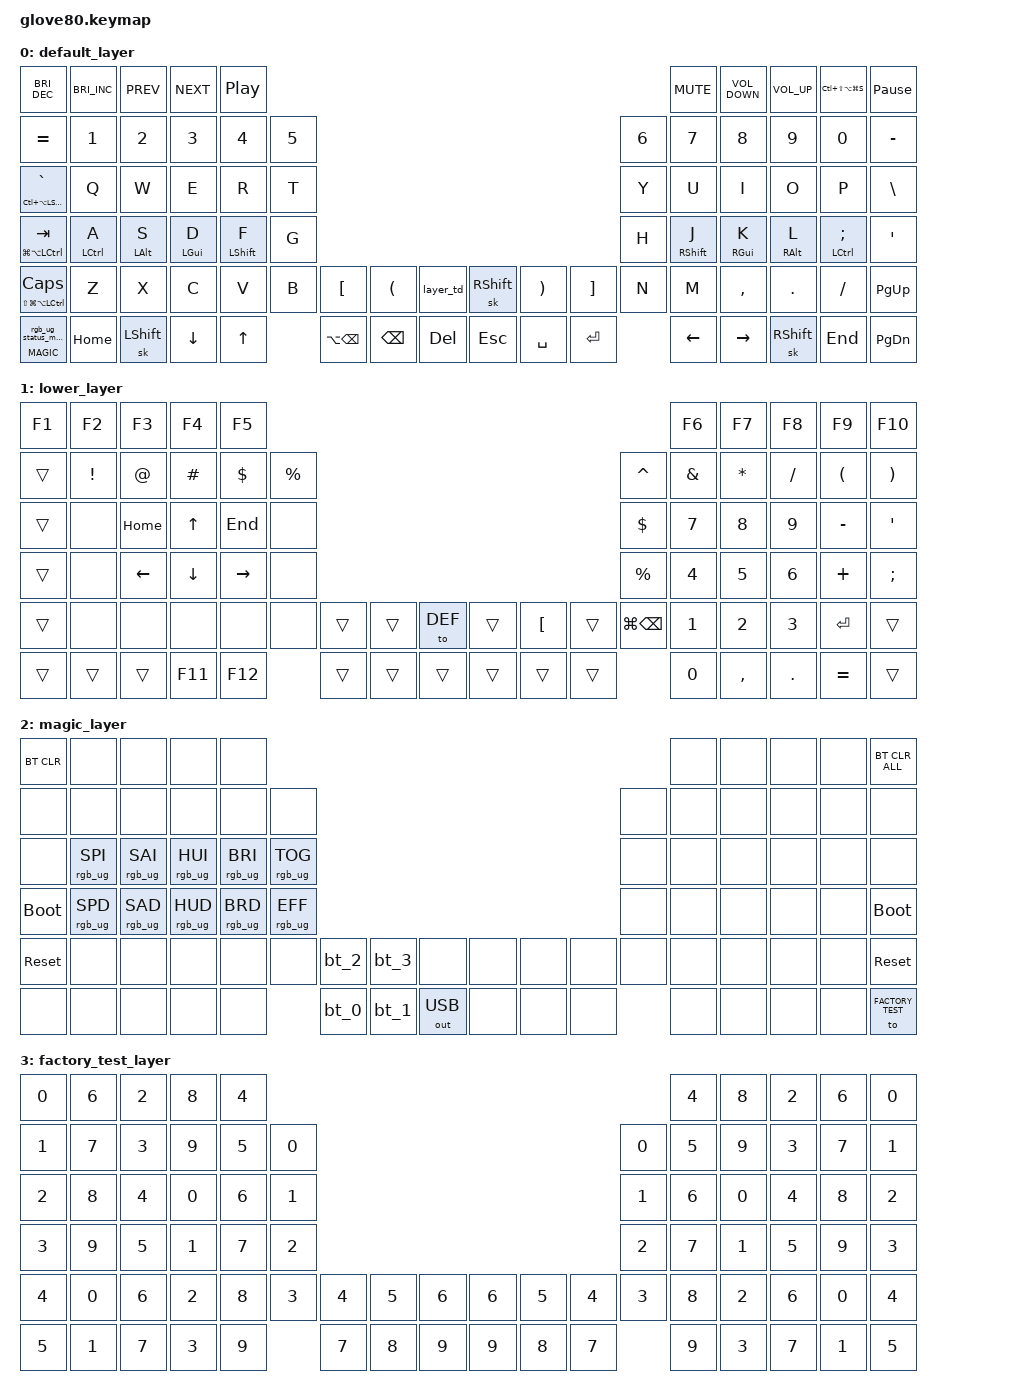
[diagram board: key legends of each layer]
/*
 * Copyright (c) 2020 The ZMK Contributors
 *
 * SPDX-License-Identifier: MIT
 */

#include <behaviors.dtsi>
#include <dt-bindings/zmk/keys.h>
#include <dt-bindings/zmk/bt.h>
#include <dt-bindings/zmk/ext_power.h>
#include <dt-bindings/zmk/outputs.h>
#include <dt-bindings/zmk/rgb.h>

#define XX &none
#define YEH LC(LA(LEFT_SHIFT))
#define MEH LG(LA(LCTRL))
#define HYPER LS(LG(LA(LCTRL)))
#define VOICE &kp LC(LS(LA(LG(S)))) // Needs OS binding for hypr+S for Siri/Cortana/etc
#define REM LA(BSPC)
#define CLR LG(BSPC)
#define KCUT &kp LG(X)
#define KCOPY &kp LG(C)
#define KPASTE &kp LG(V)
#define KUNDO &kp LG(Z)
#define KREDO &kp LG(LS(Z))
#define VUP C_VOLUME_UP
#define VDOWN C_VOLUME_DOWN
#define BR_U C_BRIGHTNESS_INC
#define BR_D C_BRIGHTNESS_DEC

// layers
#define DEF 0
#define LOWER 1
#define MAGIC 2
#define FACTORY_TEST 3
// |------------------------|------------------------|
// | LEFT_HAND_KEYS         |        RIGHT_HAND_KEYS |
// |------------------------|------------------------|
// |  0  1  2  3  4         |          5  6  7  8  9 |
// | 10 11 12 13 14 15      |      16 17 18 19 20 21 |
// | 22 23 24 25 26 27      |      28 29 30 31 32 33 |
// | 34 35 36 37 38 39      |      40 41 42 43 44 45 |
// | 46 47 48 49 50 51      |      58 59 60 61 62 63 |
// | 64 65 66 67 68         |         75 76 77 78 79 |
// |                69 52   |   57 74                |
// |                 70 53  |  56 73                 |
// |                  71 54 | 55 72                  |
// |------------------------|------------------------|
#define KEYS_L 0 1 2 3 4 10 11 12 13 14 15 22 23 24 25 26 27 34 35 36 37 38 39 46 47 48 49 50 51 64 65 66 67 68
#define KEYS_R 5 6 7 8 9 16 17 18 19 20 21 28 29 30 31 32 33 40 41 42 43 44 45 58 59 60 61 62 63 75 76 77 78 79
#define THUMBS 69 52 57 74 70 53 56 73 71 54 55 72

&lt {
        tapping-term-ms = <200>;
};

&sk {
        release-after-ms = <2000>;
        quick-release;
};

/ {
    behaviors {
        // For the "layer" key, it'd nice to be able to use it as either a shift or a toggle.
        // Configure it as a tap dance, so the first tap (or hold) is a &mo and the second tap is a &to
        layer_td: tap_dance_0 {
            compatible = "zmk,behavior-tap-dance";
            label = "LAYER_TAP_DANCE";
            #binding-cells = <0>;
            tapping-term-ms = <200>;
            bindings = <&mo LOWER>, <&to LOWER>;
        };

        magic: magic_hold_tap {
            compatible = "zmk,behavior-hold-tap";
            label = "MAGIC_HOLD_TAP";
            #binding-cells = <2>;
            flavor = "tap-preferred";
            tapping-term-ms = <200>;
            bindings = <&mo>, <&rgb_ug_status_macro>;
        };

        hyper_caps: hyper_capslock_hold_tap {
            compatible = "zmk,behavior-hold-tap";
            label = "HYPER_CAPSLOCK_HOLD_TAP";
            #binding-cells = <2>;
            flavor = "tap-preferred";
            tapping-term-ms = <200>;
            bindings = <&kp>, <&kp>;
        };

        meh_tab: meh_tab_hold_tap {
            compatible = "zmk,behavior-hold-tap";
            label = "MEH_TAB_HOLD_TAP";
            #binding-cells = <2>;
            flavor = "tap-preferred";
            tapping-term-ms = <200>;
            bindings = <&kp>, <&kp>;
        };

        yeh_grave: yeh_grave_hold_tap {
            compatible = "zmk,behavior-hold-tap";
            label = "YEH_GRAVE_HOLD_TAP";
            #binding-cells = <2>;
            flavor = "tap-preferred";
            tapping-term-ms = <200>;
            bindings = <&kp>, <&kp>;
        };

        hml: left_hand_positional_hold_tap {
            compatible = "zmk,behavior-hold-tap";
            label = "LEFT_POSITIONAL_HOLD_TAP";
            #binding-cells = <2>;
            flavor = "balanced";
            tapping-term-ms = <280>;                        // <---[[produces tap if held longer than tapping-term-ms]]
            require-prior-idle-ms = <180>;
            quick-tap-ms = <175>;
            bindings = <&kp>, <&kp>;
            hold-trigger-key-positions = <KEYS_R THUMBS>;    // <---[[right-hand keys]]
            hold-trigger-on-release;
        };

        hmr: right_hand_positional_hold_tap {
            compatible = "zmk,behavior-hold-tap";
            label = "RIGHT_POSITIONAL_HOLD_TAP";
            #binding-cells = <2>;
            flavor = "balanced";
            tapping-term-ms = <280>;                        // <---[[produces tap if held longer than tapping-term-ms]]
            require-prior-idle-ms = <180>;
            quick-tap-ms = <175>;
            bindings = <&kp>, <&kp>;
            hold-trigger-key-positions = <KEYS_L THUMBS>;    // <---[[left-hand keys]]
            hold-trigger-on-release;
        };
    };

    macros {
        rgb_ug_status_macro: rgb_ug_status_macro_0 {
            label = "RGB_UG_STATUS";
            compatible = "zmk,behavior-macro";
            #binding-cells = <0>;
            bindings
                = <&rgb_ug RGB_STATUS>;
        };

        bt_0: bt_profile_macro_0 {
            label = "BT_0";
            compatible = "zmk,behavior-macro";
            #binding-cells = <0>;
            bindings
                = <&out OUT_BLE>,
                  <&bt BT_SEL 0>;
        };

        bt_1: bt_profile_macro_1 {
            label = "BT_1";
            compatible = "zmk,behavior-macro";
            #binding-cells = <0>;
            bindings
                = <&out OUT_BLE>,
                  <&bt BT_SEL 1>;
        };

        bt_2: bt_profile_macro_2 {
            label = "BT_2";
            compatible = "zmk,behavior-macro";
            #binding-cells = <0>;
            bindings
                = <&out OUT_BLE>,
                  <&bt BT_SEL 2>;
        };

        bt_3: bt_profile_macro_3 {
            label = "BT_3";
            compatible = "zmk,behavior-macro";
            #binding-cells = <0>;
            bindings
                = <&out OUT_BLE>,
                  <&bt BT_SEL 3>;
        };
    };

    keymap {
        compatible = "zmk,keymap";

        default_layer {
// -----------------------------------------------------------------------------------------------------------------------------------------
// |  F1   |  F2 |  F3 |  F4  |  F5  |                                                               |  F6   |  F7   |  F8  |   F9  |  F10 |
// | EQUAL |  1  |  2  |  3   |  4   |  5   |                                                 |  6   |   7   |   8   |  9   |   0   |   -  |
// |   `   |  Q  |  W  |  E   |  R   |  T   |                                                 |  Y   |   U   |   I   |  O   |   P   |   \  |
// |  TAB  |  A  |  S  |  D   |  F   |  G   |                                                 |  H   |   J   |   K   |  L   |   ;   |   '  |
// | CAPS  |  Z  |  X  |  C   |  V   |  B   | LBKT  | LPAR  | LOWER | | SHFT  | RPAR  | RBKT  |  N   |   M   |   ,   |  .   |   /   | PGUP |
// | MAGIC |  LS | SRS | DOWN |  UP  |      | REM   | BSPC  | DEL   | | ESC   | SPACE | RET   |      | LEFT  | RIGHT | HOME |  END  | PGDN |
// TODO: add a insert functionality
            bindings = <
&kp BR_D       &kp BR_U &kp C_PREV  &kp C_NEXT  &kp C_PP                                                                                   &kp C_MUTE  &kp VDOWN   &kp VUP     VOICE &kp PAUSE_BREAK
&kp EQUAL      &kp N1   &kp N2      &kp N3      &kp N4      &kp N5                                                                     &kp N6  &kp N7  &kp N8      &kp N9      &kp N0      &kp MINUS
&yeh_grave YEH GRAVE      &kp Q     &kp W       &kp E       &kp R       &kp T                                                                      &kp Y   &kp U   &kp I       &kp O       &kp P       &kp BSLH
&meh_tab MEH TAB &hml LCTRL A  &hml LALT S &hml LGUI D &hml LSHFT F  &kp G                                                           &kp H   &hmr RSHFT J  &hmr RGUI K   &hmr RALT L   &hmr LCTRL SEMI &kp SQT
&hyper_caps HYPER CAPS       &kp Z     &kp X       &kp C       &kp V       &kp B   &kp LBKT &kp LPAR &layer_td     &sk RSHFT &kp RPAR    &kp RBKT     &kp N   &kp M   &kp COMMA   &kp DOT     &kp FSLH   &kp PG_UP
&magic MAGIC 0 &kp HOME &sk LSHFT   &kp DOWN    &kp UP              &kp REM  &kp BSPC &kp DEL       &kp ESC   &kp SPACE   &kp RET             &kp LEFT &kp RIGHT   &sk RSHFT   &kp END     &kp PG_DN
            >;
        };

        lower_layer {
            bindings = <
&kp F1            &kp F2              &kp F3          &kp F4          &kp F5                                                                                                             &kp F6       &kp F7       &kp F8     &kp F9       &kp F10
&trans            &kp EXCLAMATION     &kp AT          &kp HASH        &kp DOLLAR      &kp PRCNT                                                                             &kp CARET    &kp AMPS     &kp STAR     &kp FSLH   &kp LPAR     &kp RPAR
&trans            &none               &kp HOME        &kp UP          &kp END         &none                                                                                 &kp DOLLAR   &kp N7       &kp N8       &kp N9     &kp MINUS    &kp SINGLE_QUOTE
&trans            &none               &kp LEFT        &kp DOWN        &kp RIGHT       &none                                                                                 &kp PRCNT    &kp N4       &kp N5       &kp N6     &kp PLUS     &kp SEMICOLON
&trans            &none               &none           &none           &none           &none           &trans      &trans      &to DEF     &trans      &kp LBKT    &trans    &kp CLR      &kp N1       &kp N2       &kp N3     &kp RET      &trans
&trans            &trans              &trans          &kp F11         &kp F12                         &trans      &trans      &trans      &trans      &trans      &trans                 &kp N0       &kp COMMA    &kp DOT    &kp EQUAL    &trans
            >;
        };

        magic_layer {
            bindings = <
&bt BT_CLR        &none               &none           &none           &none                                                                                                           &none      &none      &none      &none      &bt BT_CLR_ALL
&none             &none               &none           &none           &none           &none                                                                                &none      &none      &none      &none      &none      &none
&none             &rgb_ug RGB_SPI     &rgb_ug RGB_SAI &rgb_ug RGB_HUI &rgb_ug RGB_BRI &rgb_ug RGB_TOG                                                                      &none      &none      &none      &none      &none      &none
&bootloader       &rgb_ug RGB_SPD     &rgb_ug RGB_SAD &rgb_ug RGB_HUD &rgb_ug RGB_BRD &rgb_ug RGB_EFF                                                                      &none      &none      &none      &none      &none      &bootloader
&sys_reset        &none               &none           &none           &none           &none           &bt_2     &bt_3     &none            &none     &none     &none       &none      &none      &none      &none      &none      &sys_reset
&none             &none               &none           &none           &none                           &bt_0     &bt_1     &out OUT_USB     &none     &none     &none                  &none      &none      &none      &none      &to FACTORY_TEST
            >;
        };

        factory_test_layer {
            bindings = <
&kp N0   &kp N6   &kp N2   &kp N8   &kp N4                                                                              &kp N4   &kp N8   &kp N2   &kp N6   &kp N0
&kp N1   &kp N7   &kp N3   &kp N9   &kp N5   &kp N0                                                            &kp N0   &kp N5   &kp N9   &kp N3   &kp N7   &kp N1
&kp N2   &kp N8   &kp N4   &kp N0   &kp N6   &kp N1                                                            &kp N1   &kp N6   &kp N0   &kp N4   &kp N8   &kp N2
&kp N3   &kp N9   &kp N5   &kp N1   &kp N7   &kp N2                                                            &kp N2   &kp N7   &kp N1   &kp N5   &kp N9   &kp N3
&kp N4   &kp N0   &kp N6   &kp N2   &kp N8   &kp N3   &kp N4   &kp N5   &kp N6      &kp N6   &kp N5   &kp N4   &kp N3   &kp N8   &kp N2   &kp N6   &kp N0   &kp N4
&kp N5   &kp N1   &kp N7   &kp N3   &kp N9            &kp N7   &kp N8   &kp N9      &kp N9   &kp N8   &kp N7            &kp N9   &kp N3   &kp N7   &kp N1   &kp N5
            >;
        };
    };
};
